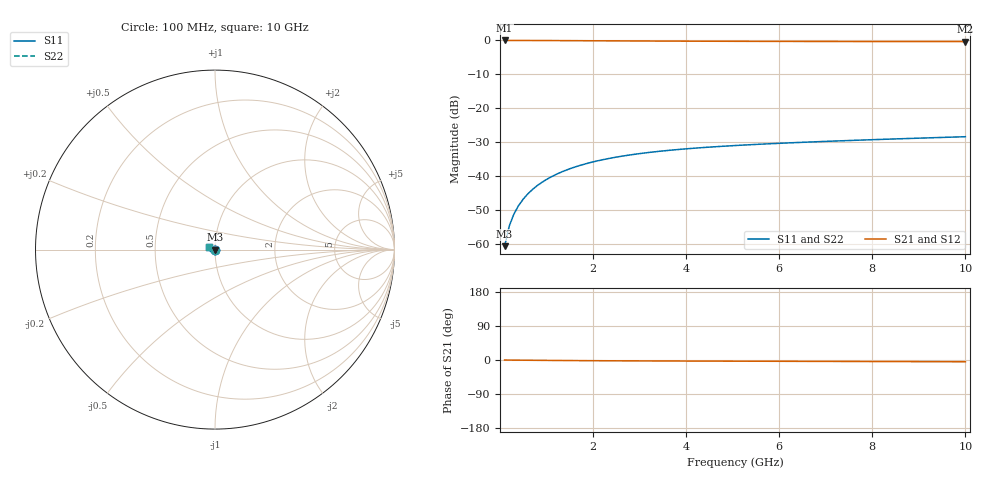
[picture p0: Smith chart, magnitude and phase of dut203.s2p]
! Touchstone file exported from HFSS 2024.1.0
!  File:  C:/UserFiles/LocalFiles/RDL_TSV_Batchsim/temp_TSV1_203_1779386025.aedt
!  Generated:  01:59:42 AM May 22, 2026
!  Design:  TSV1
!  Project:  temp_TSV1_203_1779386025
!  Setup:  Setup1
!  Solution:  Sweep
! Variables:
!  dtsv = 9.34um
!  hbump = 3um
!  htsv = 68.84um
!  lrdl = 252.1521522um
!  p = 40
!  p1 = 56.45um
!  t = 500um
!  trdl = 3um
!  wrdl = 24.89489489um
# GHz S MA R 50.000000
! Terminal data exported
! Port[1] = TSV22_T1
! Port[2] = TSV22_T2
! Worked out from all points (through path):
!   100 points, 100 MHz to 10 GHz, reference 50 ohm
!   highest |S21| = 0.00 dB at 100 MHz (marker M1); lowest = -0.3 dB at 10 GHz (marker M2)
!   lowest |S11| = -60.6 dB at 100 MHz (marker M3), VSWR 1.00, Z = 50 - j0.093 ohm
!   |S11| at or under -10 dB: start of sweep to end of sweep
!   |S22| runs from -60.6 to -28.3 dB; largest |S21 - S12| = 3.2e-15
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0.1  0.000937 -82.8  0.9998 -0.1  0.9998 -0.1  0.000937 -82.8
! Gamma 0 0 0 0
! Port Impedance 50 0 50 0
0.2  0.00186 -89.4  0.9997 -0.2  0.9997 -0.2  0.00186 -89.4
0.3  0.002786 -93.0  0.9995 -0.3  0.9995 -0.3  0.002786 -93.0
0.4  0.003707 -95.9  0.9993 -0.4  0.9993 -0.4  0.003707 -95.9
0.5  0.00462 -98.4  0.9989 -0.5  0.9989 -0.5  0.00462 -98.4
0.6  0.005523 -100.9  0.9986 -0.6  0.9986 -0.6  0.005523 -100.9
0.7  0.006413 -103.2  0.9981 -0.7  0.9981 -0.7  0.006413 -103.2
0.8  0.007288 -105.4  0.9977 -0.8  0.9977 -0.8  0.007288 -105.4
0.9  0.008148 -107.5  0.9971 -0.9  0.9971 -0.9  0.008148 -107.5
1.1  0.009814 -111.7  0.9959 -1.1  0.9959 -1.1  0.009814 -111.7
1.4  0.01217 -117.7  0.9939 -1.4  0.9939 -1.4  0.01217 -117.7
1.6  0.01363 -121.4  0.9924 -1.5  0.9924 -1.5  0.01363 -121.4
1.8  0.01501 -125.0  0.9909 -1.7  0.9909 -1.7  0.01501 -125.0
2.1  0.01691 -130.2  0.9886 -1.9  0.9886 -1.9  0.01691 -130.2
2.5  0.01917 -136.6  0.9856 -2.1  0.9856 -2.1  0.01917 -136.6
2.9  0.02113 -142.4  0.9827 -2.3  0.9827 -2.3  0.02113 -142.4
3.4  0.02324 -149.1  0.9795 -2.5  0.9795 -2.5  0.02324 -149.1
4.2  0.02601 -158.4  0.9751 -2.8  0.9751 -2.8  0.02601 -158.4
5.1  0.02851 -167.3  0.9712 -3.1  0.9712 -3.1  0.02851 -167.3
6.7  0.03208 179.8  0.9665 -3.6  0.9665 -3.6  0.03208 179.8
8.4  0.03535 168.8  0.9632 -4.1  0.9632 -4.1  0.03535 168.8
10  0.03827 160.3  0.9611 -4.7  0.9611 -4.7  0.03827 160.3
